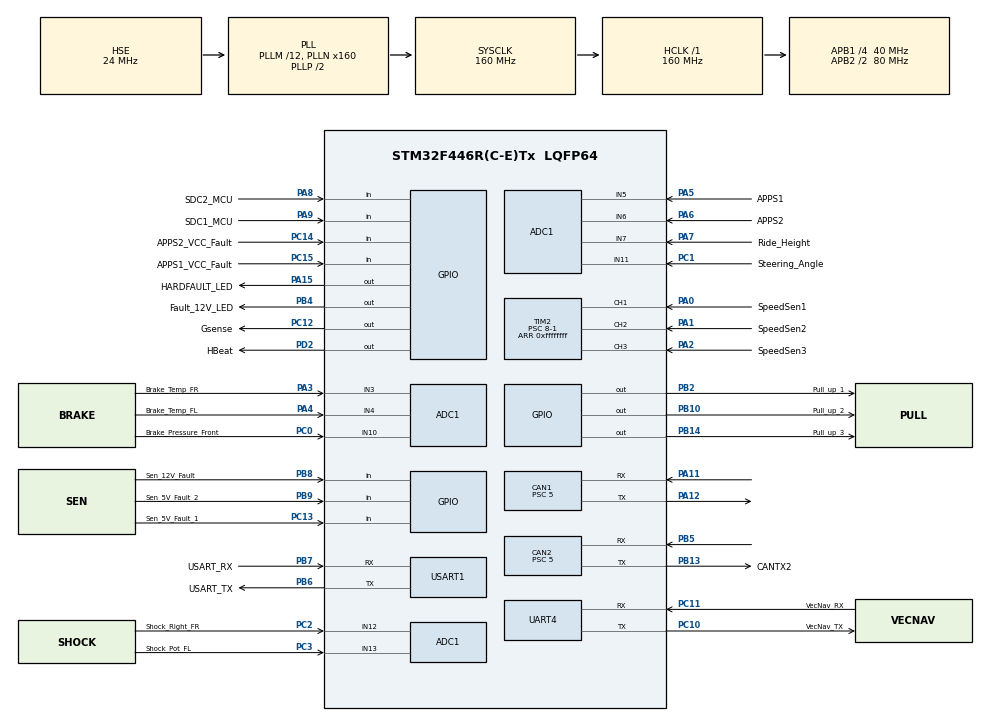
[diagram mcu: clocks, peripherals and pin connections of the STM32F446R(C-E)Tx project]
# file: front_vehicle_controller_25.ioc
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ADC1.Channel-0\#ChannelRegularConversion=ADC_CHANNEL_3
ADC1.Channel-1\#ChannelRegularConversion=ADC_CHANNEL_4
ADC1.Channel-13\#ChannelRegularConversion=ADC_CHANNEL_6
ADC1.Channel-14\#ChannelRegularConversion=ADC_CHANNEL_7
ADC1.Channel-15\#ChannelRegularConversion=ADC_CHANNEL_10
ADC1.Channel-16\#ChannelRegularConversion=ADC_CHANNEL_11
ADC1.Channel-2\#ChannelRegularConversion=ADC_CHANNEL_5
ADC1.Channel-20\#ChannelRegularConversion=ADC_CHANNEL_12
ADC1.Channel-21\#ChannelRegularConversion=ADC_CHANNEL_13
ADC1.ContinuousConvMode=ENABLE
ADC1.DMAContinuousRequests=ENABLE
ADC1.InjNumberOfConversion=0
ADC1.NbrOfConversion=9
ADC1.NbrOfConversionFlag=1
ADC1.Rank-0\#ChannelRegularConversion=1
ADC1.Rank-1\#ChannelRegularConversion=2
ADC1.Rank-13\#ChannelRegularConversion=4
ADC1.Rank-14\#ChannelRegularConversion=5
ADC1.Rank-15\#ChannelRegularConversion=6
ADC1.Rank-16\#ChannelRegularConversion=7
ADC1.Rank-2\#ChannelRegularConversion=3
ADC1.Rank-20\#ChannelRegularConversion=8
ADC1.Rank-21\#ChannelRegularConversion=9
ADC1.SamplingTime-0\#ChannelRegularConversion=ADC_SAMPLETIME_480CYCLES
ADC1.SamplingTime-1\#ChannelRegularConversion=ADC_SAMPLETIME_480CYCLES
ADC1.SamplingTime-13\#ChannelRegularConversion=ADC_SAMPLETIME_480CYCLES
ADC1.SamplingTime-14\#ChannelRegularConversion=ADC_SAMPLETIME_480CYCLES
ADC1.SamplingTime-15\#ChannelRegularConversion=ADC_SAMPLETIME_480CYCLES
ADC1.SamplingTime-16\#ChannelRegularConversion=ADC_SAMPLETIME_480CYCLES
ADC1.SamplingTime-2\#ChannelRegularConversion=ADC_SAMPLETIME_480CYCLES
ADC1.SamplingTime-20\#ChannelRegularConversion=ADC_SAMPLETIME_480CYCLES
ADC1.SamplingTime-21\#ChannelRegularConversion=ADC_SAMPLETIME_480CYCLES
ADC1.ScanConvMode=ENABLE
ADC1.master=1
CAN1.BS1=CAN_BS1_6TQ
CAN1.CalculateBaudRate=1000000
CAN1.CalculateTimeBit=1000
CAN1.CalculateTimeQuantum=125.0
CAN1.Prescaler=5
CAN2.BS1=CAN_BS1_6TQ
CAN2.CalculateBaudRate=1000000
CAN2.CalculateTimeBit=1000
CAN2.CalculateTimeQuantum=125.0
CAN2.Prescaler=5
Dma.ADC1.0.Direction=DMA_PERIPH_TO_MEMORY
Dma.ADC1.0.FIFOMode=DMA_FIFOMODE_DISABLE
Dma.ADC1.0.Instance=DMA2_Stream0
Dma.ADC1.0.MemDataAlignment=DMA_MDATAALIGN_HALFWORD
Dma.ADC1.0.MemInc=DMA_MINC_ENABLE
Dma.ADC1.0.Mode=DMA_CIRCULAR
Dma.ADC1.0.PeriphDataAlignment=DMA_PDATAALIGN_HALFWORD
Dma.ADC1.0.PeriphInc=DMA_PINC_DISABLE
Dma.ADC1.0.Priority=DMA_PRIORITY_LOW
Dma.Request0=ADC1
Dma.Request1=TIM2_CH1
Dma.Request2=TIM2_CH2/CH4
Dma.Request3=TIM2_UP/CH3
Dma.TIM2_CH1.1.Direction=DMA_PERIPH_TO_MEMORY
Dma.TIM2_CH1.1.FIFOMode=DMA_FIFOMODE_DISABLE
Dma.TIM2_CH1.1.Instance=DMA1_Stream5
Dma.TIM2_CH1.1.MemDataAlignment=DMA_MDATAALIGN_WORD
Dma.TIM2_CH1.1.MemInc=DMA_MINC_ENABLE
Dma.TIM2_CH1.1.Mode=DMA_CIRCULAR
Dma.TIM2_CH1.1.PeriphDataAlignment=DMA_PDATAALIGN_WORD
Dma.TIM2_CH1.1.PeriphInc=DMA_PINC_DISABLE
Dma.TIM2_CH1.1.Priority=DMA_PRIORITY_LOW
Dma.TIM2_CH2/CH4.2.Direction=DMA_PERIPH_TO_MEMORY
Dma.TIM2_CH2/CH4.2.FIFOMode=DMA_FIFOMODE_DISABLE
Dma.TIM2_CH2/CH4.2.Instance=DMA1_Stream6
Dma.TIM2_CH2/CH4.2.MemDataAlignment=DMA_MDATAALIGN_WORD
Dma.TIM2_CH2/CH4.2.MemInc=DMA_MINC_ENABLE
Dma.TIM2_CH2/CH4.2.Mode=DMA_CIRCULAR
Dma.TIM2_CH2/CH4.2.PeriphDataAlignment=DMA_PDATAALIGN_WORD
Dma.TIM2_CH2/CH4.2.PeriphInc=DMA_PINC_DISABLE
Dma.TIM2_CH2/CH4.2.Priority=DMA_PRIORITY_LOW
Dma.TIM2_UP/CH3.3.Direction=DMA_PERIPH_TO_MEMORY
Dma.TIM2_UP/CH3.3.FIFOMode=DMA_FIFOMODE_DISABLE
Dma.TIM2_UP/CH3.3.Instance=DMA1_Stream1
Dma.TIM2_UP/CH3.3.MemDataAlignment=DMA_MDATAALIGN_WORD
Dma.TIM2_UP/CH3.3.MemInc=DMA_MINC_ENABLE
Dma.TIM2_UP/CH3.3.Mode=DMA_NORMAL
Dma.TIM2_UP/CH3.3.PeriphDataAlignment=DMA_PDATAALIGN_WORD
Dma.TIM2_UP/CH3.3.PeriphInc=DMA_PINC_DISABLE
Dma.TIM2_UP/CH3.3.Priority=DMA_PRIORITY_LOW
FREERTOS.Tasks01=main_task,0,1024,task_MainTask,Default,NULL,Dynamic,NULL,NULL;buffer_handling,1,1024,task_BufferHandling,Default,NULL,Dynamic,NULL,NULL
FREERTOS.configENABLE_FPU=1
FREERTOS.configGENERATE_RUN_TIME_STATS=1
FREERTOS.configMINIMAL_STACK_SIZE=256
FREERTOS.configUSE_NEWLIB_REENTRANT=1
FREERTOS.configUSE_STATS_FORMATTING_FUNCTIONS=1
Mcu.Family=STM32F4
Mcu.Name=STM32F446R(C-E)Tx
Mcu.Package=LQFP64
NVIC.CAN1_RX0_IRQn=true\:5\:0\:false\:false\:true\:true\:true\:true\:true
NVIC.CAN1_RX1_IRQn=true\:5\:0\:false\:false\:true\:true\:true\:true\:true
NVIC.CAN1_TX_IRQn=true\:5\:0\:false\:false\:true\:true\:true\:true\:true
NVIC.CAN2_RX0_IRQn=true\:5\:0\:false\:false\:true\:true\:true\:true\:true
NVIC.CAN2_RX1_IRQn=true\:5\:0\:false\:false\:true\:true\:true\:true\:true
NVIC.CAN2_TX_IRQn=true\:5\:0\:false\:false\:true\:true\:true\:true\:true
NVIC.DMA1_Stream1_IRQn=true\:5\:0\:false\:false\:true\:true\:false\:true\:true
NVIC.DMA1_Stream5_IRQn=true\:5\:0\:false\:false\:true\:true\:false\:true\:true
NVIC.DMA1_Stream6_IRQn=true\:5\:0\:false\:false\:true\:true\:false\:true\:true
NVIC.DMA2_Stream0_IRQn=true\:5\:0\:false\:false\:true\:true\:false\:true\:true
NVIC.PriorityGroup=NVIC_PRIORITYGROUP_4
NVIC.TIM1_TRG_COM_TIM11_IRQn=true\:5\:0\:false\:false\:true\:true\:true\:true\:true
NVIC.TIM1_UP_TIM10_IRQn=true\:5\:0\:false\:false\:true\:true\:true\:true\:true
NVIC.TIM6_DAC_IRQn=true\:15\:0\:false\:false\:true\:false\:false\:true\:true
NVIC.TimeBase=TIM6_DAC_IRQn
NVIC.TimeBaseIP=TIM6
PA0-WKUP.GPIO_Label=SpeedSen1
PA0-WKUP.Signal=S_TIM2_CH1_ETR
PA1.GPIO_Label=SpeedSen2
PA1.Signal=S_TIM2_CH2
PA11.Mode=CAN_Activate
PA11.Signal=CAN1_RX
PA12.Mode=CAN_Activate
PA12.Signal=CAN1_TX
PA13.Mode=Trace_Asynchronous_SW
PA13.Signal=SYS_JTMS-SWDIO
PA14.Mode=Trace_Asynchronous_SW
PA14.Signal=SYS_JTCK-SWCLK
PA15.GPIO_Label=HARDFAULT_LED
PA15.Signal=GPIO_Output
PA2.GPIO_Label=SpeedSen3
PA2.Signal=S_TIM2_CH3
PA3.GPIO_Label=Brake_Temp_FR
PA3.Signal=ADCx_IN3
PA4.GPIO_Label=Brake_Temp_FL
PA4.Signal=ADCx_IN4
PA5.GPIO_Label=APPS1
PA5.Signal=ADCx_IN5
PA6.GPIO_Label=APPS2
PA6.Signal=ADCx_IN6
PA7.GPIO_Label=Ride_Height
PA7.Signal=ADCx_IN7
PA8.GPIO_Label=SDC2_MCU
PA8.Signal=GPIO_Input
PA9.GPIO_Label=SDC1_MCU
PA9.Signal=GPIO_Input
PB10.GPIO_Label=Pull_up_2
PB10.GPIO_ModeDefaultOutputPP=GPIO_MODE_OUTPUT_OD
PB10.GPIO_PuPd=GPIO_NOPULL
PB10.Signal=GPIO_Output
PB13.GPIO_Label=CANTX2
PB13.Mode=CAN_Activate
PB13.Signal=CAN2_TX
PB14.GPIO_Label=Pull_up_3
PB14.GPIO_ModeDefaultOutputPP=GPIO_MODE_OUTPUT_OD
PB14.GPIO_PuPd=GPIO_NOPULL
PB14.Signal=GPIO_Output
PB2.GPIO_Label=Pull_up_1
PB2.GPIO_ModeDefaultOutputPP=GPIO_MODE_OUTPUT_OD
PB2.GPIO_PuPd=GPIO_NOPULL
PB2.Signal=GPIO_Output
PB3.Mode=Trace_Asynchronous_SW
PB3.Signal=SYS_JTDO-SWO
PB4.GPIO_Label=Fault_12V_LED
PB4.Signal=GPIO_Output
PB5.Mode=CAN_Activate
PB5.Signal=CAN2_RX
PB6.GPIO_Label=USART_TX
PB6.Mode=Asynchronous
PB6.Signal=USART1_TX
PB7.GPIO_Label=USART_RX
PB7.Mode=Asynchronous
PB7.Signal=USART1_RX
PB8.GPIO_Label=Sen_12V_Fault
PB8.Signal=GPIO_Input
PB9.GPIO_Label=Sen_5V_Fault_2
PB9.Signal=GPIO_Input
PC0.GPIO_Label=Brake_Pressure_Front
PC0.Signal=ADCx_IN10
PC1.GPIO_Label=Steering_Angle
PC1.Signal=ADCx_IN11
PC10.GPIO_Label=VecNav_TX
PC10.Mode=Asynchronous
PC10.Signal=UART4_TX
PC11.GPIO_Label=VecNav_RX
PC11.Mode=Asynchronous
PC11.Signal=UART4_RX
PC12.GPIO_Label=Gsense
PC12.Signal=GPIO_Output
PC13.GPIO_Label=Sen_5V_Fault_1
PC13.Signal=GPIO_Input
PC14-OSC32_IN.GPIO_Label=APPS2_VCC_Fault
PC14-OSC32_IN.Signal=GPIO_Input
PC15-OSC32_OUT.GPIO_Label=APPS1_VCC_Fault
PC15-OSC32_OUT.Signal=GPIO_Input
PC2.GPIO_Label=Shock_Right_FR
PC2.Signal=ADCx_IN12
PC3.GPIO_Label=Shock_Pot_FL
PC3.Signal=ADCx_IN13
PD2.GPIO_Label=HBeat
PD2.Signal=GPIO_Output
PH0-OSC_IN.Mode=HSE-External-Clock-Source
PH0-OSC_IN.Signal=RCC_OSC_IN
PH1-OSC_OUT.Mode=HSE-External-Clock-Source
PH1-OSC_OUT.Signal=RCC_OSC_OUT
ProjectManager.HeapSize=0x200
ProjectManager.StackSize=0x400
ProjectManager.TargetToolchain=STM32CubeIDE
RCC.AHBFreq_Value=160000000
RCC.APB1CLKDivider=RCC_HCLK_DIV4
RCC.APB1Freq_Value=40000000
RCC.APB1TimFreq_Value=80000000
RCC.APB2CLKDivider=RCC_HCLK_DIV2
RCC.APB2Freq_Value=80000000
RCC.APB2TimFreq_Value=160000000
RCC.CortexFreq_Value=160000000
RCC.HCLKFreq_Value=160000000
RCC.HSE_VALUE=24000000
RCC.PLLM=12
RCC.PLLN=160
RCC.PLLSourceVirtual=RCC_PLLSOURCE_HSE
RCC.SYSCLKFreq_VALUE=160000000
RCC.SYSCLKSource=RCC_SYSCLKSOURCE_PLLCLK
RCC.USBFreq_Value=160000000
RCC.VCOOutputFreq_Value=320000000
SH.ADCx_IN10.0=ADC1_IN10,IN10
SH.ADCx_IN11.0=ADC1_IN11,IN11
SH.ADCx_IN12.0=ADC1_IN12,IN12
SH.ADCx_IN13.0=ADC1_IN13,IN13
SH.ADCx_IN3.0=ADC1_IN3,IN3
SH.ADCx_IN4.0=ADC1_IN4,IN4
SH.ADCx_IN5.0=ADC1_IN5,IN5
SH.ADCx_IN6.0=ADC1_IN6,IN6
SH.ADCx_IN7.0=ADC1_IN7,IN7
SH.S_TIM2_CH1_ETR.0=TIM2_CH1,Input_Capture1_from_TI1
SH.S_TIM2_CH2.0=TIM2_CH2,Input_Capture2_from_TI2
SH.S_TIM2_CH3.0=TIM2_CH3,Input_Capture3_from_TI3
TIM11.Period=65535
TIM11.Prescaler=200
TIM2.Channel-Input_Capture1_from_TI1=TIM_CHANNEL_1
TIM2.Channel-Input_Capture2_from_TI2=TIM_CHANNEL_2
TIM2.Channel-Input_Capture3_from_TI3=TIM_CHANNEL_3
TIM2.Period=0xffffffff
TIM2.Prescaler=8-1
TIM3.Period=31999
TIM3.Prescaler=250-1
UART4.VirtualMode=Asynchronous
USART1.VirtualMode=VM_ASYNC
VP_FREERTOS_VS_CMSIS_V1.Mode=CMSIS_V1
VP_SYS_VS_tim6.Mode=TIM6
VP_TIM10_VS_ClockSourceINT.Mode=Enable_Timer
VP_TIM11_VS_ClockSourceINT.Mode=Enable_Timer
VP_TIM1_VS_ClockSourceINT.Mode=Internal
VP_TIM2_VS_ClockSourceINT.Mode=Internal
VP_TIM3_VS_ClockSourceINT.Mode=Internal
board=custom

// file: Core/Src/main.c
/* USER CODE BEGIN Header */
/**
  ******************************************************************************
  * @file           : main.c
  * @brief          : Main program body
  ******************************************************************************
  * @attention
  *
  * Copyright (c) 2022 STMicroelectronics.
  * All rights reserved.
  *
  * This software is licensed under terms that can be found in the LICENSE file
  * in the root directory of this software component.
  * If no LICENSE file comes with this software, it is provided AS-IS.
  *
  ******************************************************************************
  */
/* USER CODE END Header */
#include "main.h"
#include "cmsis_os.h"

/* USER CODE BEGIN Includes */
#include "gopher_sense.h"
#include "FVC.h"
#include "pulse_sensor.h"
/* USER CODE END Includes */

/* USER CODE BEGIN PD */
#define IC_TIMER &htim2
#define HDMA_CHANNEL 1

 //(X pulses / 1 sec) * (3600 sec / 1 hr) * (1 rev / 30 pulses) * ([wheel diameter * pi] in / 1 rev) * (1 mile/63360 in)
#define CONVERSION_RATIO 0.0595f
#define DMA_STOPPED_TIMEOUT_MS 1000
#define USE_VAR_SS true
#define LOW_SAMPLES 100
#define HIGH_SAMPLES 1000
#define MIN_SAMPLES 5
/* USER CODE END PD */

ADC_HandleTypeDef hadc1;
DMA_HandleTypeDef hdma_adc1;

CAN_HandleTypeDef hcan1;
CAN_HandleTypeDef hcan2;

TIM_HandleTypeDef htim1;
TIM_HandleTypeDef htim2;
TIM_HandleTypeDef htim3;
TIM_HandleTypeDef htim10;
TIM_HandleTypeDef htim11;
DMA_HandleTypeDef hdma_tim2_ch1;
DMA_HandleTypeDef hdma_tim2_ch2_ch4;
DMA_HandleTypeDef hdma_tim2_up_ch3;

UART_HandleTypeDef huart4;
UART_HandleTypeDef huart1;

osThreadId main_taskHandle;
osThreadId buffer_handlingHandle;

void SystemClock_Config(void);
static void MX_GPIO_Init(void);
static void MX_DMA_Init(void);
static void MX_CAN2_Init(void);
static void MX_USART1_UART_Init(void);
static void MX_ADC1_Init(void);
static void MX_TIM10_Init(void);
static void MX_TIM2_Init(void);
static void MX_CAN1_Init(void);
static void MX_TIM1_Init(void);
static void MX_TIM3_Init(void);
static void MX_UART4_Init(void);
static void MX_TIM11_Init(void);
void task_MainTask(void const * argument);
void task_BufferHandling(void const * argument);

int main(void)
{

  /* MCU Configuration--------------------------------------------------------*/

  /* Reset of all peripherals, Initializes the Flash interface and the Systick. */
  HAL_Init();

  /* Configure the system clock */
  SystemClock_Config();

  /* USER CODE BEGIN SysInit */

  MX_DMA_Init();

  /* USER CODE END SysInit */

  /* Initialize all configured peripherals */
  MX_GPIO_Init();
  MX_DMA_Init();
  MX_CAN2_Init();
  MX_USART1_UART_Init();
  MX_ADC1_Init();
  MX_TIM10_Init();
  MX_TIM2_Init();
  MX_CAN1_Init();
  MX_TIM1_Init();
  MX_TIM3_Init();
  MX_UART4_Init();
  MX_TIM11_Init();
  /* USER CODE BEGIN 2 */

  init_can(&hcan1, GCAN0);
  init_can(&hcan2, GCAN1);
  gsense_init(&hcan1, &hadc1, NULL, NULL, &htim10, Gsense_GPIO_Port, Gsense_Pin);
  setup_pulse_sensor_vss(
      		  &htim2,
       		  TIM_CHANNEL_1,
       		  CONVERSION_RATIO,
       		  &(wheelSpeedFrontLeft_mph.data),
      		  DMA_STOPPED_TIMEOUT_MS,
       		  USE_VAR_SS,
       		  LOW_SAMPLES,
       		  HIGH_SAMPLES,
      		  MIN_SAMPLES,
      		  64
         );
  setup_pulse_sensor_vss(
			  &htim2,
			  TIM_CHANNEL_2,
			  CONVERSION_RATIO,
			  &(wheelSpeedFrontRight_mph.data),
			  DMA_STOPPED_TIMEOUT_MS,
			  USE_VAR_SS,
			  LOW_SAMPLES,
			  HIGH_SAMPLES,
			  MIN_SAMPLES,
			  64
          );
  /* USER CODE END 2 */

  /* Create the thread(s) */
  /* definition and creation of main_task */
  osThreadDef(main_task, task_MainTask, osPriorityNormal, 0, 1024);
  main_taskHandle = osThreadCreate(osThread(main_task), NULL);

  /* definition and creation of buffer_handling */
  osThreadDef(buffer_handling, task_BufferHandling, osPriorityAboveNormal, 0, 1024);
  buffer_handlingHandle = osThreadCreate(osThread(buffer_handling), NULL);

  /* Start scheduler */
  osKernelStart();

  /* We should never get here as control is now taken by the scheduler */
  /* Infinite loop */
  while (1)
  {

  }
}

void SystemClock_Config(void)
{
  RCC_OscInitTypeDef RCC_OscInitStruct = {0};
  RCC_ClkInitTypeDef RCC_ClkInitStruct = {0};

  /** Configure the main internal regulator output voltage
  */
  __HAL_RCC_PWR_CLK_ENABLE();
  __HAL_PWR_VOLTAGESCALING_CONFIG(PWR_REGULATOR_VOLTAGE_SCALE1);

  /** Initializes the RCC Oscillators according to the specified parameters
  * in the RCC_OscInitTypeDef structure.
  */
  RCC_OscInitStruct.OscillatorType = RCC_OSCILLATORTYPE_HSE;
  RCC_OscInitStruct.HSEState = RCC_HSE_BYPASS;
  RCC_OscInitStruct.PLL.PLLState = RCC_PLL_ON;
  RCC_OscInitStruct.PLL.PLLSource = RCC_PLLSOURCE_HSE;
  RCC_OscInitStruct.PLL.PLLM = 12;
  RCC_OscInitStruct.PLL.PLLN = 160;
  RCC_OscInitStruct.PLL.PLLP = RCC_PLLP_DIV2;
  RCC_OscInitStruct.PLL.PLLQ = 2;
  RCC_OscInitStruct.PLL.PLLR = 2;
  if (HAL_RCC_OscConfig(&RCC_OscInitStruct) != HAL_OK)
  {
    Error_Handler();
  }

  /** Initializes the CPU, AHB and APB buses clocks
  */
  RCC_ClkInitStruct.ClockType = RCC_CLOCKTYPE_HCLK|RCC_CLOCKTYPE_SYSCLK
                              |RCC_CLOCKTYPE_PCLK1|RCC_CLOCKTYPE_PCLK2;
  RCC_ClkInitStruct.SYSCLKSource = RCC_SYSCLKSOURCE_PLLCLK;
  RCC_ClkInitStruct.AHBCLKDivider = RCC_SYSCLK_DIV1;
  RCC_ClkInitStruct.APB1CLKDivider = RCC_HCLK_DIV4;
  RCC_ClkInitStruct.APB2CLKDivider = RCC_HCLK_DIV2;

  if (HAL_RCC_ClockConfig(&RCC_ClkInitStruct, FLASH_LATENCY_5) != HAL_OK)
  {
    Error_Handler();
  }
}

static void MX_ADC1_Init(void)
{

  ADC_ChannelConfTypeDef sConfig = {0};

  /** Configure the global features of the ADC (Clock, Resolution, Data Alignment and number of conversion)
  */
  hadc1.Instance = ADC1;
  hadc1.Init.ClockPrescaler = ADC_CLOCK_SYNC_PCLK_DIV4;
  hadc1.Init.Resolution = ADC_RESOLUTION_12B;
  hadc1.Init.ScanConvMode = ENABLE;
  hadc1.Init.ContinuousConvMode = ENABLE;
  hadc1.Init.DiscontinuousConvMode = DISABLE;
  hadc1.Init.ExternalTrigConvEdge = ADC_EXTERNALTRIGCONVEDGE_NONE;
  hadc1.Init.ExternalTrigConv = ADC_SOFTWARE_START;
  hadc1.Init.DataAlign = ADC_DATAALIGN_RIGHT;
  hadc1.Init.NbrOfConversion = 9;
  hadc1.Init.DMAContinuousRequests = ENABLE;
  hadc1.Init.EOCSelection = ADC_EOC_SINGLE_CONV;
  if (HAL_ADC_Init(&hadc1) != HAL_OK)
  {
    Error_Handler();
  }

  /** Configure for the selected ADC regular channel its corresponding rank in the sequencer and its sample time.
  */
  sConfig.Channel = ADC_CHANNEL_3;
  sConfig.Rank = 1;
  sConfig.SamplingTime = ADC_SAMPLETIME_480CYCLES;
  if (HAL_ADC_ConfigChannel(&hadc1, &sConfig) != HAL_OK)
  {
    Error_Handler();
  }

  /** Configure for the selected ADC regular channel its corresponding rank in the sequencer and its sample time.
  */
  sConfig.Channel = ADC_CHANNEL_4;
  sConfig.Rank = 2;
  if (HAL_ADC_ConfigChannel(&hadc1, &sConfig) != HAL_OK)
  {
    Error_Handler();
  }

  /** Configure for the selected ADC regular channel its corresponding rank in the sequencer and its sample time.
  */
  sConfig.Channel = ADC_CHANNEL_5;
  sConfig.Rank = 3;
  if (HAL_ADC_ConfigChannel(&hadc1, &sConfig) != HAL_OK)
  {
    Error_Handler();
  }

  /** Configure for the selected ADC regular channel its corresponding rank in the sequencer and its sample time.
  */
  sConfig.Channel = ADC_CHANNEL_6;
  sConfig.Rank = 4;
  if (HAL_ADC_ConfigChannel(&hadc1, &sConfig) != HAL_OK)
  {
    Error_Handler();
  }

  /** Configure for the selected ADC regular channel its corresponding rank in the sequencer and its sample time.
  */
  sConfig.Channel = ADC_CHANNEL_7;
  sConfig.Rank = 5;
  if (HAL_ADC_ConfigChannel(&hadc1, &sConfig) != HAL_OK)
  {
    Error_Handler();
  }

  /** Configure for the selected ADC regular channel its corresponding rank in the sequencer and its sample time.
  */
  sConfig.Channel = ADC_CHANNEL_10;
  sConfig.Rank = 6;
  if (HAL_ADC_ConfigChannel(&hadc1, &sConfig) != HAL_OK)
  {
    Error_Handler();
  }

  /** Configure for the selected ADC regular channel its corresponding rank in the sequencer and its sample time.
  */
  sConfig.Channel = ADC_CHANNEL_11;
  sConfig.Rank = 7;
  if (HAL_ADC_ConfigChannel(&hadc1, &sConfig) != HAL_OK)
  {
    Error_Handler();
  }

  /** Configure for the selected ADC regular channel its corresponding rank in the sequencer and its sample time.
  */
  sConfig.Channel = ADC_CHANNEL_12;
  sConfig.Rank = 8;
  if (HAL_ADC_ConfigChannel(&hadc1, &sConfig) != HAL_OK)
  {
    Error_Handler();
  }

  /** Configure for the selected ADC regular channel its corresponding rank in the sequencer and its sample time.
  */
  sConfig.Channel = ADC_CHANNEL_13;
  sConfig.Rank = 9;
  if (HAL_ADC_ConfigChannel(&hadc1, &sConfig) != HAL_OK)
  {
    Error_Handler();
  }

}

static void MX_CAN1_Init(void)
{

  hcan1.Instance = CAN1;
  hcan1.Init.Prescaler = 5;
  hcan1.Init.Mode = CAN_MODE_NORMAL;
  hcan1.Init.SyncJumpWidth = CAN_SJW_1TQ;
  hcan1.Init.TimeSeg1 = CAN_BS1_6TQ;
  hcan1.Init.TimeSeg2 = CAN_BS2_1TQ;
  hcan1.Init.TimeTriggeredMode = DISABLE;
  hcan1.Init.AutoBusOff = DISABLE;
  hcan1.Init.AutoWakeUp = DISABLE;
  hcan1.Init.AutoRetransmission = DISABLE;
  hcan1.Init.ReceiveFifoLocked = DISABLE;
  hcan1.Init.TransmitFifoPriority = DISABLE;
  if (HAL_CAN_Init(&hcan1) != HAL_OK)
  {
    Error_Handler();
  }

}

static void MX_CAN2_Init(void)
{

  hcan2.Instance = CAN2;
  hcan2.Init.Prescaler = 5;
  hcan2.Init.Mode = CAN_MODE_NORMAL;
  hcan2.Init.SyncJumpWidth = CAN_SJW_1TQ;
  hcan2.Init.TimeSeg1 = CAN_BS1_6TQ;
  hcan2.Init.TimeSeg2 = CAN_BS2_1TQ;
  hcan2.Init.TimeTriggeredMode = DISABLE;
  hcan2.Init.AutoBusOff = DISABLE;
  hcan2.Init.AutoWakeUp = DISABLE;
  hcan2.Init.AutoRetransmission = DISABLE;
  hcan2.Init.ReceiveFifoLocked = DISABLE;
  hcan2.Init.TransmitFifoPriority = DISABLE;
  if (HAL_CAN_Init(&hcan2) != HAL_OK)
  {
    Error_Handler();
  }

}

static void MX_TIM1_Init(void)
{

  TIM_ClockConfigTypeDef sClockSourceConfig = {0};
  TIM_MasterConfigTypeDef sMasterConfig = {0};

  htim1.Instance = TIM1;
  htim1.Init.Prescaler = 0;
  htim1.Init.CounterMode = TIM_COUNTERMODE_UP;
  htim1.Init.Period = 65535;
  htim1.Init.ClockDivision = TIM_CLOCKDIVISION_DIV1;
  htim1.Init.RepetitionCounter = 0;
  htim1.Init.AutoReloadPreload = TIM_AUTORELOAD_PRELOAD_DISABLE;
  if (HAL_TIM_Base_Init(&htim1) != HAL_OK)
  {
    Error_Handler();
  }
  sClockSourceConfig.ClockSource = TIM_CLOCKSOURCE_INTERNAL;
  if (HAL_TIM_ConfigClockSource(&htim1, &sClockSourceConfig) != HAL_OK)
  {
    Error_Handler();
  }
  sMasterConfig.MasterOutputTrigger = TIM_TRGO_RESET;
  sMasterConfig.MasterSlaveMode = TIM_MASTERSLAVEMODE_DISABLE;
  if (HAL_TIMEx_MasterConfigSynchronization(&htim1, &sMasterConfig) != HAL_OK)
  {
    Error_Handler();
  }

}

static void MX_TIM2_Init(void)
{

  TIM_ClockConfigTypeDef sClockSourceConfig = {0};
  TIM_MasterConfigTypeDef sMasterConfig = {0};
  TIM_IC_InitTypeDef sConfigIC = {0};

  htim2.Instance = TIM2;
  htim2.Init.Prescaler = 8-1;
  htim2.Init.CounterMode = TIM_COUNTERMODE_UP;
  htim2.Init.Period = 0xffffffff;
  htim2.Init.ClockDivision = TIM_CLOCKDIVISION_DIV1;
  htim2.Init.AutoReloadPreload = TIM_AUTORELOAD_PRELOAD_DISABLE;
  if (HAL_TIM_Base_Init(&htim2) != HAL_OK)
  {
    Error_Handler();
  }
  sClockSourceConfig.ClockSource = TIM_CLOCKSOURCE_INTERNAL;
  if (HAL_TIM_ConfigClockSource(&htim2, &sClockSourceConfig) != HAL_OK)
  {
    Error_Handler();
  }
  if (HAL_TIM_IC_Init(&htim2) != HAL_OK)
  {
    Error_Handler();
  }
  sMasterConfig.MasterOutputTrigger = TIM_TRGO_RESET;
  sMasterConfig.MasterSlaveMode = TIM_MASTERSLAVEMODE_DISABLE;
  if (HAL_TIMEx_MasterConfigSynchronization(&htim2, &sMasterConfig) != HAL_OK)
  {
    Error_Handler();
  }
  sConfigIC.ICPolarity = TIM_INPUTCHANNELPOLARITY_RISING;
  sConfigIC.ICSelection = TIM_ICSELECTION_DIRECTTI;
  sConfigIC.ICPrescaler = TIM_ICPSC_DIV1;
  sConfigIC.ICFilter = 0;
  if (HAL_TIM_IC_ConfigChannel(&htim2, &sConfigIC, TIM_CHANNEL_1) != HAL_OK)
  {
    Error_Handler();
  }
  if (HAL_TIM_IC_ConfigChannel(&htim2, &sConfigIC, TIM_CHANNEL_2) != HAL_OK)
  {
    Error_Handler();
  }
  if (HAL_TIM_IC_ConfigChannel(&htim2, &sConfigIC, TIM_CHANNEL_3) != HAL_OK)
  {
    Error_Handler();
  }

}

static void MX_TIM3_Init(void)
{

  TIM_ClockConfigTypeDef sClockSourceConfig = {0};
  TIM_MasterConfigTypeDef sMasterConfig = {0};

  htim3.Instance = TIM3;
  htim3.Init.Prescaler = 250-1;
  htim3.Init.CounterMode = TIM_COUNTERMODE_UP;
  htim3.Init.Period = 31999;
  htim3.Init.ClockDivision = TIM_CLOCKDIVISION_DIV1;
  htim3.Init.AutoReloadPreload = TIM_AUTORELOAD_PRELOAD_DISABLE;
  if (HAL_TIM_Base_Init(&htim3) != HAL_OK)
  {
    Error_Handler();
  }
  sClockSourceConfig.ClockSource = TIM_CLOCKSOURCE_INTERNAL;
  if (HAL_TIM_ConfigClockSource(&htim3, &sClockSourceConfig) != HAL_OK)
  {
    Error_Handler();
  }
  sMasterConfig.MasterOutputTrigger = TIM_TRGO_RESET;
  sMasterConfig.MasterSlaveMode = TIM_MASTERSLAVEMODE_DISABLE;
  if (HAL_TIMEx_MasterConfigSynchronization(&htim3, &sMasterConfig) != HAL_OK)
  {
    Error_Handler();
  }

}

static void MX_TIM10_Init(void)
{

  htim10.Instance = TIM10;
  htim10.Init.Prescaler = 0;
  htim10.Init.CounterMode = TIM_COUNTERMODE_UP;
  htim10.Init.Period = 65535;
  htim10.Init.ClockDivision = TIM_CLOCKDIVISION_DIV1;
  htim10.Init.AutoReloadPreload = TIM_AUTORELOAD_PRELOAD_DISABLE;
  if (HAL_TIM_Base_Init(&htim10) != HAL_OK)
  {
    Error_Handler();
  }

}

static void MX_TIM11_Init(void)
{

  htim11.Instance = TIM11;
  htim11.Init.Prescaler = 200;
  htim11.Init.CounterMode = TIM_COUNTERMODE_UP;
  htim11.Init.Period = 65535;
  htim11.Init.ClockDivision = TIM_CLOCKDIVISION_DIV1;
  htim11.Init.AutoReloadPreload = TIM_AUTORELOAD_PRELOAD_DISABLE;
  if (HAL_TIM_Base_Init(&htim11) != HAL_OK)
  {
    Error_Handler();
  }

}

static void MX_UART4_Init(void)
{

  huart4.Instance = UART4;
  huart4.Init.BaudRate = 115200;
  huart4.Init.WordLength = UART_WORDLENGTH_8B;
  huart4.Init.StopBits = UART_STOPBITS_1;
  huart4.Init.Parity = UART_PARITY_NONE;
  huart4.Init.Mode = UART_MODE_TX_RX;
  huart4.Init.HwFlowCtl = UART_HWCONTROL_NONE;
  huart4.Init.OverSampling = UART_OVERSAMPLING_16;
  if (HAL_UART_Init(&huart4) != HAL_OK)
  {
    Error_Handler();
  }

}

static void MX_USART1_UART_Init(void)
{

  huart1.Instance = USART1;
  huart1.Init.BaudRate = 115200;
  huart1.Init.WordLength = UART_WORDLENGTH_8B;
  huart1.Init.StopBits = UART_STOPBITS_1;
  huart1.Init.Parity = UART_PARITY_NONE;
  huart1.Init.Mode = UART_MODE_TX_RX;
  huart1.Init.HwFlowCtl = UART_HWCONTROL_NONE;
  huart1.Init.OverSampling = UART_OVERSAMPLING_16;
  if (HAL_UART_Init(&huart1) != HAL_OK)
  {
    Error_Handler();
  }

}

static void MX_DMA_Init(void)
{

  /* DMA controller clock enable */
  __HAL_RCC_DMA2_CLK_ENABLE();
  __HAL_RCC_DMA1_CLK_ENABLE();

  /* DMA interrupt init */
  /* DMA1_Stream1_IRQn interrupt configuration */
  HAL_NVIC_SetPriority(DMA1_Stream1_IRQn, 5, 0);
  HAL_NVIC_EnableIRQ(DMA1_Stream1_IRQn);
  /* DMA1_Stream5_IRQn interrupt configuration */
  HAL_NVIC_SetPriority(DMA1_Stream5_IRQn, 5, 0);
  HAL_NVIC_EnableIRQ(DMA1_Stream5_IRQn);
  /* DMA1_Stream6_IRQn interrupt configuration */
  HAL_NVIC_SetPriority(DMA1_Stream6_IRQn, 5, 0);
  HAL_NVIC_EnableIRQ(DMA1_Stream6_IRQn);
  /* DMA2_Stream0_IRQn interrupt configuration */
  HAL_NVIC_SetPriority(DMA2_Stream0_IRQn, 5, 0);
  HAL_NVIC_EnableIRQ(DMA2_Stream0_IRQn);

}

static void MX_GPIO_Init(void)
{
  GPIO_InitTypeDef GPIO_InitStruct = {0};

  /* GPIO Ports Clock Enable */
  __HAL_RCC_GPIOC_CLK_ENABLE();
  __HAL_RCC_GPIOH_CLK_ENABLE();
  __HAL_RCC_GPIOA_CLK_ENABLE();
  __HAL_RCC_GPIOB_CLK_ENABLE();
  __HAL_RCC_GPIOD_CLK_ENABLE();

  /*Configure GPIO pin Output Level */
  HAL_GPIO_WritePin(GPIOB, Pull_up_1_Pin|Pull_up_2_Pin|Pull_up_3_Pin|Fault_12V_LED_Pin, GPIO_PIN_RESET);

  /*Configure GPIO pin Output Level */
  HAL_GPIO_WritePin(HARDFAULT_LED_GPIO_Port, HARDFAULT_LED_Pin, GPIO_PIN_RESET);

  /*Configure GPIO pin Output Level */
  HAL_GPIO_WritePin(Gsense_GPIO_Port, Gsense_Pin, GPIO_PIN_RESET);

  /*Configure GPIO pin Output Level */
  HAL_GPIO_WritePin(HBeat_GPIO_Port, HBeat_Pin, GPIO_PIN_RESET);

  /*Configure GPIO pins : Sen_5V_Fault_1_Pin APPS2_VCC_Fault_Pin APPS1_VCC_Fault_Pin */
  GPIO_InitStruct.Pin = Sen_5V_Fault_1_Pin|APPS2_VCC_Fault_Pin|APPS1_VCC_Fault_Pin;
  GPIO_InitStruct.Mode = GPIO_MODE_INPUT;
  GPIO_InitStruct.Pull = GPIO_NOPULL;
  HAL_GPIO_Init(GPIOC, &GPIO_InitStruct);

  /*Configure GPIO pins : Pull_up_1_Pin Pull_up_2_Pin Pull_up_3_Pin */
  GPIO_InitStruct.Pin = Pull_up_1_Pin|Pull_up_2_Pin|Pull_up_3_Pin;
  GPIO_InitStruct.Mode = GPIO_MODE_OUTPUT_OD;
  GPIO_InitStruct.Pull = GPIO_NOPULL;
  GPIO_InitStruct.Speed = GPIO_SPEED_FREQ_LOW;
  HAL_GPIO_Init(GPIOB, &GPIO_InitStruct);

  /*Configure GPIO pins : SDC2_MCU_Pin SDC1_MCU_Pin */
  GPIO_InitStruct.Pin = SDC2_MCU_Pin|SDC1_MCU_Pin;
  GPIO_InitStruct.Mode = GPIO_MODE_INPUT;
  GPIO_InitStruct.Pull = GPIO_NOPULL;
  HAL_GPIO_Init(GPIOA, &GPIO_InitStruct);

  /*Configure GPIO pin : HARDFAULT_LED_Pin */
  GPIO_InitStruct.Pin = HARDFAULT_LED_Pin;
  GPIO_InitStruct.Mode = GPIO_MODE_OUTPUT_PP;
  GPIO_InitStruct.Pull = GPIO_NOPULL;
  GPIO_InitStruct.Speed = GPIO_SPEED_FREQ_LOW;
  HAL_GPIO_Init(HARDFAULT_LED_GPIO_Port, &GPIO_InitStruct);

  /*Configure GPIO pin : Gsense_Pin */
  GPIO_InitStruct.Pin = Gsense_Pin;
  GPIO_InitStruct.Mode = GPIO_MODE_OUTPUT_PP;
  GPIO_InitStruct.Pull = GPIO_NOPULL;
  GPIO_InitStruct.Speed = GPIO_SPEED_FREQ_LOW;
  HAL_GPIO_Init(Gsense_GPIO_Port, &GPIO_InitStruct);

  /*Configure GPIO pin : HBeat_Pin */
  GPIO_InitStruct.Pin = HBeat_Pin;
  GPIO_InitStruct.Mode = GPIO_MODE_OUTPUT_PP;
  GPIO_InitStruct.Pull = GPIO_NOPULL;
  GPIO_InitStruct.Speed = GPIO_SPEED_FREQ_LOW;
  HAL_GPIO_Init(HBeat_GPIO_Port, &GPIO_InitStruct);

  /*Configure GPIO pin : Fault_12V_LED_Pin */
  GPIO_InitStruct.Pin = Fault_12V_LED_Pin;
  GPIO_InitStruct.Mode = GPIO_MODE_OUTPUT_PP;
  GPIO_InitStruct.Pull = GPIO_NOPULL;
  GPIO_InitStruct.Speed = GPIO_SPEED_FREQ_LOW;
  HAL_GPIO_Init(Fault_12V_LED_GPIO_Port, &GPIO_InitStruct);

  /*Configure GPIO pins : Sen_12V_Fault_Pin Sen_5V_Fault_2_Pin */
  GPIO_InitStruct.Pin = Sen_12V_Fault_Pin|Sen_5V_Fault_2_Pin;
  GPIO_InitStruct.Mode = GPIO_MODE_INPUT;
  GPIO_InitStruct.Pull = GPIO_NOPULL;
  HAL_GPIO_Init(GPIOB, &GPIO_InitStruct);

}

void task_MainTask(void const * argument)
{
  /* USER CODE BEGIN 5 */
  /* Infinite loop */

  // Setting up variables...
  for(;;)
  {
	  main_loop();
	  osDelay(1);
  }
  /* USER CODE END 5 */
}

void task_BufferHandling(void const * argument)
{
  /* USER CODE BEGIN task_BufferHandling */
  /* Infinite loop */
  for(;;)
  {
	  can_buffer_handling_loop();
    osDelay(1);
  }
  /* USER CODE END task_BufferHandling */
}

void HAL_TIM_PeriodElapsedCallback(TIM_HandleTypeDef *htim)
{
  if (htim->Instance == TIM6) {
    HAL_IncTick();
  }
  /* USER CODE BEGIN Callback 1 */
  else if(htim->Instance == TIM10) {
	  DAQ_TimerCallback(&htim10);
  }
  /* USER CODE END Callback 1 */
}

void Error_Handler(void)
{
  __disable_irq();
  while (1)
  {
  }
}

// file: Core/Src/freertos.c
/* USER CODE BEGIN Header */
/**
  ******************************************************************************
  * File Name          : freertos.c
  * Description        : Code for freertos applications
  ******************************************************************************
  * @attention
  *
  * Copyright (c) 2022 STMicroelectronics.
  * All rights reserved.
  *
  * This software is licensed under terms that can be found in the LICENSE file
  * in the root directory of this software component.
  * If no LICENSE file comes with this software, it is provided AS-IS.
  *
  ******************************************************************************
  */
/* USER CODE END Header */

#include "FreeRTOS.h"
#include "task.h"
#include "main.h"

/* GetIdleTaskMemory prototype (linked to static allocation support) */
void vApplicationGetIdleTaskMemory( StaticTask_t **ppxIdleTaskTCBBuffer, StackType_t **ppxIdleTaskStackBuffer, uint32_t *pulIdleTaskStackSize );

/* Hook prototypes */
void configureTimerForRunTimeStats(void);
unsigned long getRunTimeCounterValue(void);

/* USER CODE BEGIN 1 */
/* Functions needed when configGENERATE_RUN_TIME_STATS is on */
extern TIM_HandleTypeDef htim11;

void configureTimerForRunTimeStats(void)
{
	HAL_TIM_Base_Start_IT(&htim11);
}

extern volatile unsigned long ulHighFrequencyTimerTicks;
unsigned long getRunTimeCounterValue(void)
{
	return ulHighFrequencyTimerTicks;
}
/* USER CODE END 1 */

/* USER CODE BEGIN GET_IDLE_TASK_MEMORY */
static StaticTask_t xIdleTaskTCBBuffer;
static StackType_t xIdleStack[configMINIMAL_STACK_SIZE];

void vApplicationGetIdleTaskMemory( StaticTask_t **ppxIdleTaskTCBBuffer, StackType_t **ppxIdleTaskStackBuffer, uint32_t *pulIdleTaskStackSize )
{
  *ppxIdleTaskTCBBuffer = &xIdleTaskTCBBuffer;
  *ppxIdleTaskStackBuffer = &xIdleStack[0];
  *pulIdleTaskStackSize = configMINIMAL_STACK_SIZE;
  /* place for user code */
}
/* USER CODE END GET_IDLE_TASK_MEMORY */
